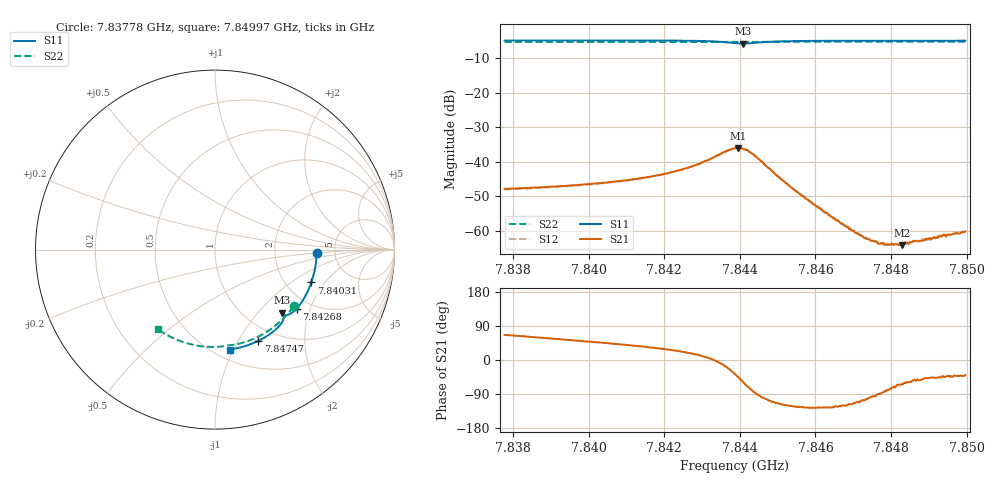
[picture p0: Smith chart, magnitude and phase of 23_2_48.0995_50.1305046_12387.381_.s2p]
#  HZ  S  RI  R  50.00
! Rohde & Schwarz Vector Network Analyzer
! Rohde-Schwarz,ZNB20-2Port,1311601062101988,3.16
! Created: UTC 12/23/2023, 3:36:51 AM
! freq[Hz]  re:S11  im:S11  re:S21  im:S21  re:S12  im:S12  re:S22  im:S22
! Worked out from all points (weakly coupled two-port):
!   401 points, 7.83778 GHz to 7.84997 GHz, reference 50 ohm
!   highest |S21| = -35.98 dB at 7.84396 GHz (marker M1); lowest = -64.2 dB at 7.84829 GHz (marker M2)
!   lowest |S11| = -5.8 dB at 7.84408 GHz (marker M3), VSWR 3.10, Z = 71.4 - j68 ohm
!   |S11| at or under -10 dB: nowhere
!   |S22| runs from -5.4 to -5.3 dB; largest |S21 - S12| = 0.00031
!   S11 on the Smith chart (normalised r, x): 7.83778 GHz: 3.61, -0.18; 7.84031 GHz: 2.74, -1.47; 7.84268 GHz: 1.69, -1.62; 7.84747 GHz: 0.82, -1.22; 7.84997 GHz: 0.59, -0.97
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7.837776e9  0.5665 -0.0167  0.00164 0.00372  0.00165 0.00364  0.4376 -0.3163
7.839817e9  0.5466 -0.1514  0.00298 0.00357  0.00294 0.00354  0.34 -0.4205
7.840305e9  0.5368 -0.1828  0.00341 0.00354  0.00337 0.00349  0.3128 -0.4413
7.841859e9  0.4913 -0.2799  0.00554 0.00329  0.00551 0.00327  0.2185 -0.4954
7.842682e9  0.4552 -0.3284  0.00801 0.00261  0.00797 0.00262  0.1641 -0.5162
7.843413e9  0.4075 -0.3632  0.0123 -0.00115  0.0123 -0.00101  0.114 -0.5284
7.84387e9  0.3744 -0.3597  0.0125 -0.00946  0.0125 -0.00943  0.0835 -0.5325
7.843962e9  0.3721 -0.3558  0.0111 -0.0114  0.0111 -0.0113  0.0778 -0.5332
7.844084e9  0.3729 -0.3513  0.00804 -0.0131  0.00808 -0.0131  0.0704 -0.5345
7.844358e9  0.3826 -0.3552  0.00146 -0.0127  0.00148 -0.0125  0.0528 -0.5375
7.84515e9  0.3707 -0.4094  -0.00246 -0.00464  -0.00245 -0.00472  -0.00248 -0.5429
7.845912e9  0.3325 -0.4502  -0.00149 -0.00205  -0.00147 -0.00207  -0.0563 -0.5409
7.846979e9  0.2715 -0.4925  -0.000439 -0.000905  -0.000444 -0.0009  -0.1305 -0.5287
7.847466e9  0.2423 -0.508  -0.000102 -0.000717  -8.37e-05 -0.000714  -0.1635 -0.5197
7.84771e9  0.2273 -0.5151  1.53e-05 -0.000648  2.62e-05 -0.000664  -0.1797 -0.5145
7.847954e9  0.2122 -0.5215  0.000131 -0.000624  0.000131 -0.000615  -0.1959 -0.5088
7.848137e9  0.2009 -0.526  0.000232 -0.000594  0.000214 -0.000583  -0.2076 -0.504
7.848289e9  0.1911 -0.5296  0.000273 -0.000555  0.000287 -0.000568  -0.2177 -0.5001
7.848777e9  0.1602 -0.5398  0.000435 -0.000574  0.000484 -0.000564  -0.2487 -0.4856
7.84899e9  0.1464 -0.5436  0.000518 -0.000573  0.000499 -0.00059  -0.262 -0.4786
7.849752e9  0.0968 -0.5542  0.000687 -0.000618  0.00067 -0.000629  -0.3077 -0.451
7.849965e9  0.0828 -0.5566  0.000758 -0.00063  0.000737 -0.000634  -0.3199 -0.4426
